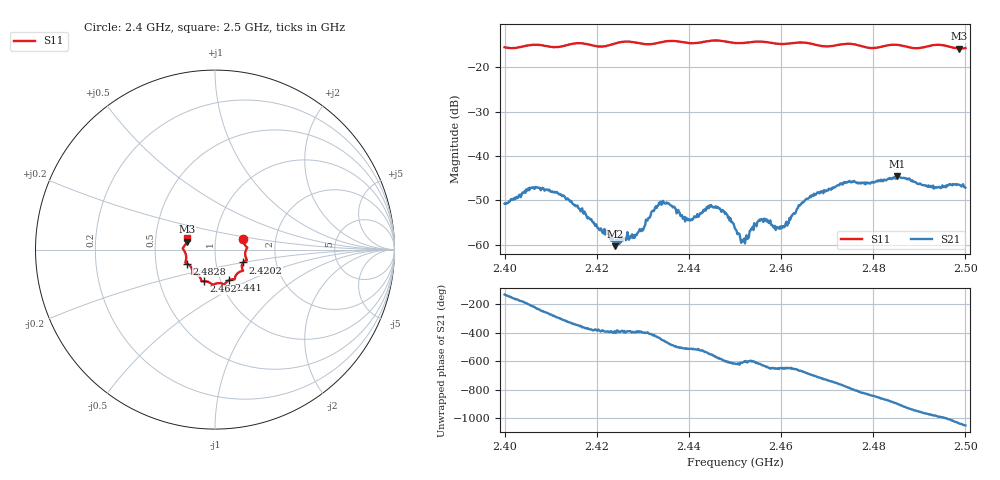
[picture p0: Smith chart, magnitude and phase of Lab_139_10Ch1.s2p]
# Hz S RI R 50
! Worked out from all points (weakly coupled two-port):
!   601 points, 2.4 GHz to 2.5 GHz, reference 50 ohm
!   highest |S21| = -44.47 dB at 2.4852 GHz (marker M1); lowest = -60.3 dB at 2.424 GHz (marker M2)
!   lowest |S11| = -15.8 dB at 2.4987 GHz (marker M3), VSWR 1.39, Z = 36.3 + j3.26 ohm
!   |S11| at or under -10 dB: start of sweep to end of sweep
!   S12 and S22 are empty: the file has one direction only
!   S11 on the Smith chart (normalised r, x): 2.4 GHz: 1.36, +0.17; 2.4202 GHz: 1.35, -0.20; 2.441 GHz: 1.10, -0.39; 2.462 GHz: 0.83, -0.30; 2.4828 GHz: 0.72, -0.12; 2.5 GHz: 0.73, +0.09
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2.4e9  0.1572 0.0609  -0.00192 -0.00219  0 0  0 0
2.407167e9  0.1797 0.0103  -0.00283 0.00342  0 0  0 0
2.416667e9  0.1776 -0.0591  0.00245 0.00027  0 0  0 0
2.420167e9  0.1568 -0.0718  0.0014 -0.000661  0 0  0 0
2.424e9  0.1522 -0.1071  0.000792 -0.000553  0 0  0 0
2.428333e9  0.1494 -0.119  0.00105 -0.000764  0 0  0 0
2.433333e9  0.1126 -0.1519  0.00085 -0.00263  0 0  0 0
2.441e9  0.0773 -0.1703  -0.00177 -0.000949  0 0  0 0
2.446167e9  0.0509 -0.1945  -0.00219 0.00143  0 0  0 0
2.45e9  0.027 -0.1866  -0.000388 0.00148  0 0  0 0
2.451833e9  0.00887 -0.1881  -0.000492 0.00104  0 0  0 0
2.4555e9  -0.0129 -0.195  -0.000372 0.00183  0 0  0 0
2.459333e9  -0.0361 -0.1806  0.000487 0.0015  0 0  0 0
2.462e9  -0.0614 -0.1759  0.000634 0.00182  0 0  0 0
2.466667e9  -0.0773 -0.1673  0.00328 0.00151  0 0  0 0
2.474333e9  -0.1256 -0.1353  0.00248 -0.00438  0 0  0 0
2.482833e9  -0.1578 -0.0779  -0.00465 -0.00263  0 0  0 0
2.483333e9  -0.1609 -0.0766  -0.00504 -0.00233  0 0  0 0
2.485167e9  -0.1646 -0.0717  -0.00597 -0.000332  0 0  0 0
2.493667e9  -0.1795 0.00649  -0.000643 0.00443  0 0  0 0
2.498667e9  -0.1568 0.0437  0.00341 0.00331  0 0  0 0
2.5e9  -0.1532 0.0619  0.0038 0.00223  0 0  0 0
